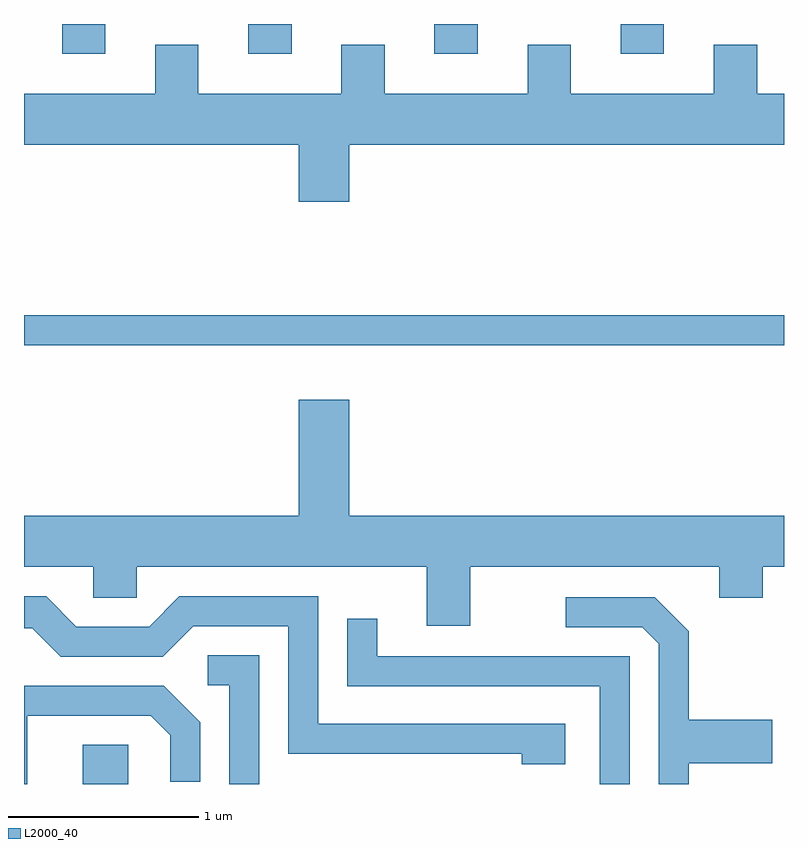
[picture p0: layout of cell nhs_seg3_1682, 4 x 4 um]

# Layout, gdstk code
import gdstk
lib = gdstk.Library(unit=1e-6, precision=1e-09)
def R(c, l, rs):  # rectangles x0, y0, x1, y1
    for r in rs: c.add(gdstk.rectangle(r[:2], r[2:], *l))
def A(c, l, x, y, w, h, nx, ny, dx, dy):  # array of equal rectangles
    R(c, l, [(x+i*dx, y+j*dy, x+i*dx+w, y+j*dy+h) for i in range(nx) for j in range(ny)])
def P(c, l, *ps):  # polygons
    for p in ps: c.add(gdstk.Polygon(p, *l))
L2000_40 = (2000, 40)

nhs_seg3_1682 = lib.new_cell('nhs_seg3_1682')
A(nhs_seg3_1682, L2000_40, 233.811, 1219.736, 0.228, 0.156, 4, 1, 0.98, 0)
R(nhs_seg3_1682, L2000_40, [(233.921,1215.892,234.159,1216.099), (233.611,1218.201,237.611,1218.359)])
P(nhs_seg3_1682, L2000_40, [(235.324,1219.256),(237.611,1219.256),(237.611,1219.524),(237.469,1219.524),(237.469,1219.784),(237.241,1219.784),(237.241,1219.524),(236.489,1219.524),(236.489,1219.784),(236.261,1219.784),(236.261,1219.524),(235.509,1219.524),(235.509,1219.784),(235.281,1219.784),(235.281,1219.524),(234.529,1219.524),(234.529,1219.784),(234.301,1219.784),(234.301,1219.524),(233.611,1219.524),(233.611,1219.256),(235.056,1219.256),(235.056,1218.956),(235.324,1218.956)],
  [(235.959,1217.036),(237.271,1217.036),(237.271,1216.871),(237.499,1216.871),(237.499,1217.036),(237.611,1217.036),(237.611,1217.304),(235.324,1217.304),(235.324,1217.914),(235.056,1217.914),(235.056,1217.304),(233.611,1217.304),(233.611,1217.036),(233.976,1217.036),(233.976,1216.871),(234.204,1216.871),(234.204,1217.036),(235.731,1217.036),(235.731,1216.726),(235.959,1216.726)],
  [(236.459,1216.209),(235.159,1216.209),(235.159,1216.879),(234.429,1216.879),(234.269,1216.719),(233.887,1216.719),(233.727,1216.879),(233.611,1216.879),(233.611,1216.711),(233.654,1216.711),(233.804,1216.561),(234.342,1216.561),(234.502,1216.721),(235.001,1216.721),(235.001,1216.051),(236.231,1216.051),(236.231,1215.996),(236.459,1215.996)],
  [(237.109,1216.001),(237.549,1216.001),(237.549,1216.229),(237.109,1216.229),(237.109,1216.697),(236.932,1216.874),(236.463,1216.874),(236.463,1216.716),(236.864,1216.716),(236.951,1216.629),(236.951,1215.892),(237.109,1215.892)],
  [(236.799,1216.564),(235.469,1216.564),(235.469,1216.763),(235.311,1216.763),(235.311,1216.406),(236.641,1216.406),(236.641,1215.892),(236.799,1215.892)],
  [(234.849,1216.569),(234.578,1216.569),(234.578,1216.411),(234.691,1216.411),(234.691,1215.892),(234.849,1215.892)],
  [(233.629,1216.251),(234.279,1216.251),(234.381,1216.149),(234.381,1215.903),(234.539,1215.903),(234.539,1216.217),(234.347,1216.409),(233.611,1216.409),(233.611,1215.892),(233.629,1215.892)])

lib.write_gds('nhs_seg3_1682.gds')
